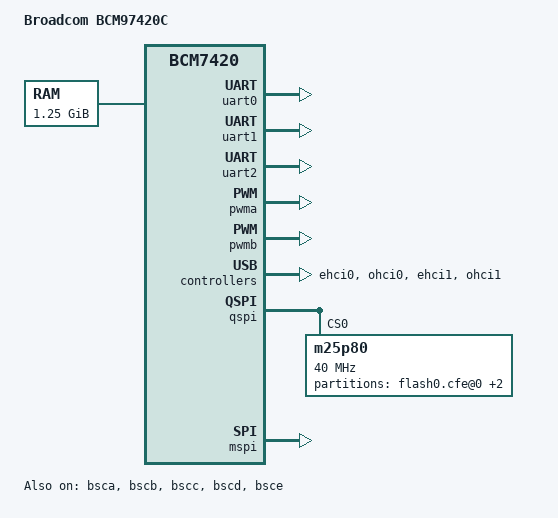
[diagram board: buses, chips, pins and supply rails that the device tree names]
/dts-v1/;

/include/ "bcm7420.dtsi"

/ {
	compatible = "brcm,bcm97420c", "brcm,bcm7420";
	model = "Broadcom BCM97420C";

	memory@0 {
		device_type = "memory";
		reg = <0x00000000 0x10000000>,
		      <0x20000000 0x30000000>,
		      <0x60000000 0x10000000>;
	};

	chosen {
		bootargs = "console=ttyS0,115200";
		stdout-path = &uart0;
	};
};

&uart0 {
	status = "okay";
};

&uart1 {
	status = "okay";
};

&uart2 {
	status = "okay";
};

&bsca {
	status = "okay";
};

&bscb {
	status = "okay";
};

&bscc {
	status = "okay";
};

&bscd {
	status = "okay";
};

&bsce {
	status = "okay";
};

&pwma {
	status = "okay";
};

&pwmb {
	status = "okay";
};

/* FIXME: MAC driver comes up but cannot attach to PHY */
&enet0 {
	status = "disabled";
};

&ehci0 {
	status = "okay";
};

&ohci0 {
	status = "okay";
};

&ehci1 {
	status = "okay";
};

&ohci1 {
	status = "okay";
};

&qspi {
	status = "okay";

	m25p80@0 {
		compatible = "m25p80";
		reg = <0>;
		spi-max-frequency = <0x2625a00>;
		spi-cpol;
		spi-cpha;
		use-bspi;
		m25p,fast-read;

		partitions {
			compatible = "fixed-partitions";
			#address-cells = <1>;
			#size-cells = <1>;

			flash0.cfe@0 {
				reg = <0x0 0xa0000>;
			};

			flash0.nvram@a0000 {
				reg = <0xa0000 0x10000>;
			};

			flash0.mac@b0000 {
				reg = <0xb0000 0x10000>;
			};
		};
	};
};

&mspi {
	status = "okay";
};
